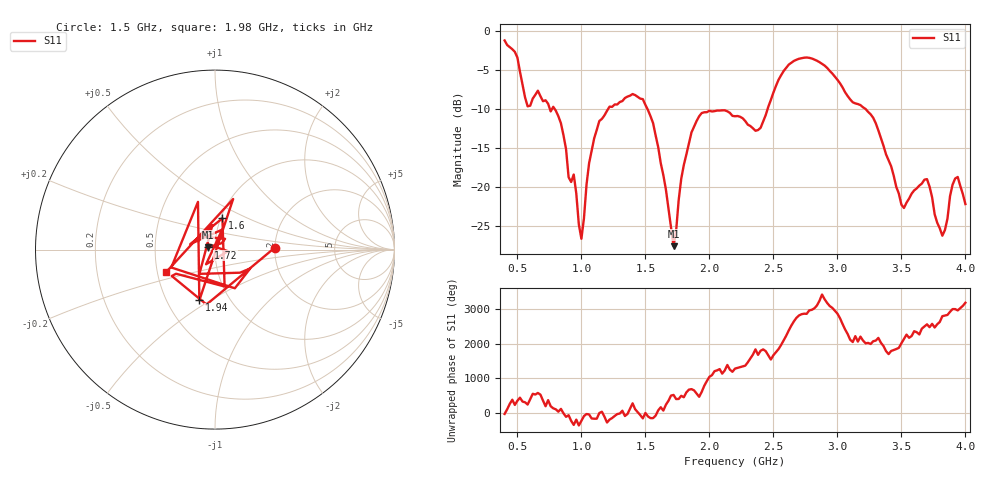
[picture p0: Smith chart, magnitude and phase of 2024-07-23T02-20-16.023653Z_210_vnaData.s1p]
!Created with skrf (http://scikit-rf.org).
# Hz S RI R 50.0
!freq ReS11 ImS11
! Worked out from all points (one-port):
!   181 points, 400 MHz to 4 GHz, reference 50 ohm
!   lowest |S11| = -27.6 dB at 1.72 GHz (marker M1), VSWR 1.09, Z = 46.2 + j1.09 ohm
!   |S11| at or under -10 dB: 789 MHz to 1.211 GHz (421.8 MHz wide, 42.2 % of centre); 1.514 GHz to 2.456 GHz (941.6 MHz wide, 47.4 % of centre); 3.215 GHz to end of sweep (the widest 3 of 4)
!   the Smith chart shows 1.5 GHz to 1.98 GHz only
!   S11 on the Smith chart (normalised r, x): 1.5 GHz: 2.00, +0.05; 1.6 GHz: 1.02, +0.37; 1.72 GHz: 0.92, +0.02; 1.94 GHz: 0.72, -0.45; 1.98 GHz: 0.56, -0.15
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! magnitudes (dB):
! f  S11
! 400 MHz  -1.3
! 500 MHz  -3.5
! 580 MHz  -9.7
! 660 MHz  -7.7
! 860 MHz  -13.4
! 900 MHz  -18.8
! 940 MHz  -18.5
! 1 GHz  -26.7
! 1.1 GHz  -13.8
! 1.3 GHz  -9.2
! 1.5 GHz  -9.5
! 1.6 GHz  -14.9
! 1.72 GHz  -27.6
! 1.76 GHz  -21.7
! 1.86 GHz  -13.1
! 1.94 GHz  -10.6
! 1.98 GHz  -10.5
! 2.2 GHz  -11.0
! 2.4 GHz  -12.5
! 2.66 GHz  -3.9
! 3.1 GHz  -8.8
! 3.28 GHz  -11.2
! 3.5 GHz  -22.3
! 3.56 GHz  -21.5
! 3.7 GHz  -19.1
! 3.82 GHz  -26.3
! 3.92 GHz  -19.0
! 4 GHz  -22.2
